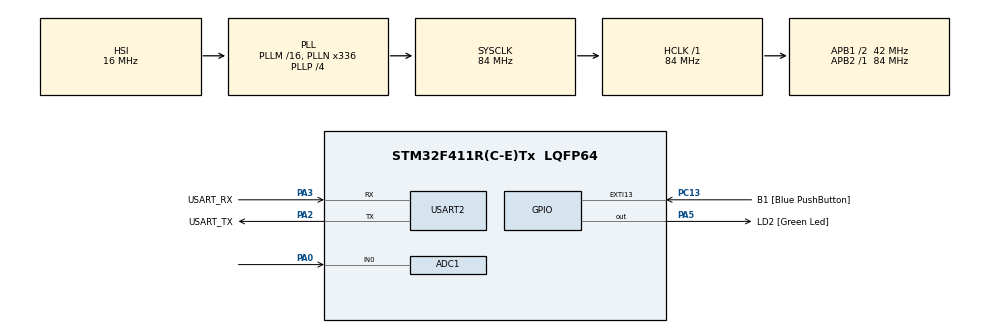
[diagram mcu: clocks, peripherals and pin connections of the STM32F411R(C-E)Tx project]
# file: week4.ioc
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ADC1.Channel-0\#ChannelRegularConversion=ADC_CHANNEL_0
ADC1.Channel-1\#ChannelRegularConversion=ADC_CHANNEL_TEMPSENSOR
ADC1.ContinuousConvMode=ENABLE
ADC1.DMAContinuousRequests=ENABLE
ADC1.EOCSelection=ADC_EOC_SEQ_CONV
ADC1.EnableAnalogWatchDog=false
ADC1.ExternalTrigConv=ADC_SOFTWARE_START
ADC1.NbrOfConversion=2
ADC1.NbrOfConversionFlag=1
ADC1.Rank-0\#ChannelRegularConversion=1
ADC1.Rank-1\#ChannelRegularConversion=2
ADC1.SamplingTime-0\#ChannelRegularConversion=ADC_SAMPLETIME_56CYCLES
ADC1.SamplingTime-1\#ChannelRegularConversion=ADC_SAMPLETIME_56CYCLES
ADC1.ScanConvMode=ENABLE
ADC1.master=1
Dma.ADC1.0.Direction=DMA_PERIPH_TO_MEMORY
Dma.ADC1.0.FIFOMode=DMA_FIFOMODE_DISABLE
Dma.ADC1.0.Instance=DMA2_Stream0
Dma.ADC1.0.MemDataAlignment=DMA_MDATAALIGN_HALFWORD
Dma.ADC1.0.MemInc=DMA_MINC_ENABLE
Dma.ADC1.0.Mode=DMA_CIRCULAR
Dma.ADC1.0.PeriphDataAlignment=DMA_PDATAALIGN_HALFWORD
Dma.ADC1.0.PeriphInc=DMA_PINC_DISABLE
Dma.ADC1.0.Priority=DMA_PRIORITY_LOW
Dma.Request0=ADC1
Mcu.Family=STM32F4
Mcu.Name=STM32F411R(C-E)Tx
Mcu.Package=LQFP64
NVIC.ADC_IRQn=true\:0\:0\:false\:false\:true\:true\:true\:true
NVIC.DMA2_Stream0_IRQn=true\:0\:0\:false\:false\:true\:false\:true\:true
NVIC.EXTI15_10_IRQn=true\:0\:0\:false\:false\:true\:true\:true\:true
NVIC.PriorityGroup=NVIC_PRIORITYGROUP_0
PA0-WKUP.Signal=ADCx_IN0
PA13.GPIO_Label=TMS
PA13.Mode=Serial_Wire
PA13.Signal=SYS_JTMS-SWDIO
PA14.GPIO_Label=TCK
PA14.Mode=Serial_Wire
PA14.Signal=SYS_JTCK-SWCLK
PA2.GPIO_Label=USART_TX
PA2.Mode=Asynchronous
PA2.Signal=USART2_TX
PA3.GPIO_Label=USART_RX
PA3.Mode=Asynchronous
PA3.Signal=USART2_RX
PA5.GPIO_Label=LD2 [Green Led]
PA5.Signal=GPIO_Output
PB3.GPIO_Label=SWO
PB3.Signal=SYS_JTDO-SWO
PC13-ANTI_TAMP.GPIO_Label=B1 [Blue PushButton]
PC13-ANTI_TAMP.GPIO_ModeDefaultEXTI=GPIO_MODE_IT_FALLING
PC13-ANTI_TAMP.Signal=GPXTI13
PC14-OSC32_IN.Mode=LSE-External-Oscillator
PC14-OSC32_IN.Signal=RCC_OSC32_IN
PC15-OSC32_OUT.Mode=LSE-External-Oscillator
PC15-OSC32_OUT.Signal=RCC_OSC32_OUT
PH0\ -\ OSC_IN.Mode=HSE-External-Clock-Source
PH0\ -\ OSC_IN.Signal=RCC_OSC_IN
PH1\ -\ OSC_OUT.Mode=HSE-External-Clock-Source
PH1\ -\ OSC_OUT.Signal=RCC_OSC_OUT
ProjectManager.HeapSize=0x200
ProjectManager.StackSize=0x400
ProjectManager.TargetToolchain=STM32CubeIDE
RCC.48MHZClocksFreq_Value=84000000
RCC.AHBFreq_Value=84000000
RCC.APB1CLKDivider=RCC_HCLK_DIV2
RCC.APB1Freq_Value=42000000
RCC.APB1TimFreq_Value=84000000
RCC.APB2Freq_Value=84000000
RCC.APB2TimFreq_Value=84000000
RCC.CortexFreq_Value=84000000
RCC.FLatency-AdvancedSettings=FLASH_LATENCY_2
RCC.HCLKFreq_Value=84000000
RCC.HSE_VALUE=8000000
RCC.HSI_VALUE=16000000
RCC.PLLN=336
RCC.PLLP=RCC_PLLP_DIV4
RCC.SYSCLKFreq_VALUE=84000000
RCC.SYSCLKSource=RCC_SYSCLKSOURCE_PLLCLK
RCC.VCOOutputFreq_Value=336000000
SH.ADCx_IN0.0=ADC1_IN0,IN0
USART2.VirtualMode=VM_ASYNC
VP_ADC1_TempSens_Input.Mode=IN-TempSens
board=NUCLEO-F411RE

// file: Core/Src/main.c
/* USER CODE BEGIN Header */
/**
  ******************************************************************************
  * @file           : main.c
  * @brief          : Main program body
  ******************************************************************************
  * @attention
  *
  * Copyright (c) 2023 STMicroelectronics.
  * All rights reserved.
  *
  * This software is licensed under terms that can be found in the LICENSE file
  * in the root directory of this software component.
  * If no LICENSE file comes with this software, it is provided AS-IS.
  *
  ******************************************************************************
  */
/* USER CODE END Header */
#include "main.h"

ADC_HandleTypeDef hadc1;
DMA_HandleTypeDef hdma_adc1;

UART_HandleTypeDef huart2;

/* USER CODE BEGIN PV */
uint32_t adcRaw;
//uint32_t adcDMA[10];
float RawV;
float RawT;
float tempK;
float tempC;
float V;

//declare buffer for DMA to Transmit.
//uint16_t adcDMA[20];
typedef struct{
	uint16_t in0;
	uint16_t temp;
}adcDMAst;
adcDMAst adcDMA[10];      //array that contain 2 struct
/* USER CODE END PV */

void SystemClock_Config(void);
static void MX_GPIO_Init(void);
static void MX_DMA_Init(void);
static void MX_USART2_UART_Init(void);
static void MX_ADC1_Init(void);

int main(void)
{

  /* MCU Configuration--------------------------------------------------------*/

  /* Reset of all peripherals, Initializes the Flash interface and the Systick. */
  HAL_Init();

  /* Configure the system clock */
  SystemClock_Config();

  /* Initialize all configured peripherals */
  MX_GPIO_Init();
  MX_DMA_Init();
  MX_USART2_UART_Init();
  MX_ADC1_Init();
  /* USER CODE BEGIN 2 */
  HAL_ADC_Start_DMA(&hadc1, adcDMA, 20);
  /* USER CODE END 2 */

  /* Infinite loop */
  while (1)
  {

    /* USER CODE BEGIN 3 */
	  static uint32_t timestamp = 0;
	  if(HAL_GetTick() > timestamp)
	  	  {
	  		  timestamp = HAL_GetTick() + 1000; // +1Hz
	  		  RawV = (adcDMA[0].in0+adcDMA[1].in0+adcDMA[2].in0+adcDMA[3].in0+adcDMA[4].in0+
	  				adcDMA[5].in0+adcDMA[6].in0+adcDMA[1].in0+adcDMA[2].in0+adcDMA[3].in0+adcDMA[4].in0)/10;
	  		  V = (((RawV/4096)*3.3)*1000)*2;

	  		  RawT = (adcDMA[0].temp+adcDMA[1].temp+adcDMA[2].temp+adcDMA[3].temp+adcDMA[4].temp+
	  				adcDMA[5].temp+adcDMA[6].temp+adcDMA[7].temp+adcDMA[8].temp+adcDMA[9].temp)/10;
	  		  tempC =((((RawT/4096)*3.3)-0.76)/0.0025)+25;
	  		  tempK = tempC+273.15;

	  	  }

  }
  /* USER CODE END 3 */
}

void SystemClock_Config(void)
{
  RCC_OscInitTypeDef RCC_OscInitStruct = {0};
  RCC_ClkInitTypeDef RCC_ClkInitStruct = {0};

  /** Configure the main internal regulator output voltage
  */
  __HAL_RCC_PWR_CLK_ENABLE();
  __HAL_PWR_VOLTAGESCALING_CONFIG(PWR_REGULATOR_VOLTAGE_SCALE1);

  /** Initializes the RCC Oscillators according to the specified parameters
  * in the RCC_OscInitTypeDef structure.
  */
  RCC_OscInitStruct.OscillatorType = RCC_OSCILLATORTYPE_HSI;
  RCC_OscInitStruct.HSIState = RCC_HSI_ON;
  RCC_OscInitStruct.HSICalibrationValue = RCC_HSICALIBRATION_DEFAULT;
  RCC_OscInitStruct.PLL.PLLState = RCC_PLL_ON;
  RCC_OscInitStruct.PLL.PLLSource = RCC_PLLSOURCE_HSI;
  RCC_OscInitStruct.PLL.PLLM = 16;
  RCC_OscInitStruct.PLL.PLLN = 336;
  RCC_OscInitStruct.PLL.PLLP = RCC_PLLP_DIV4;
  RCC_OscInitStruct.PLL.PLLQ = 4;
  if (HAL_RCC_OscConfig(&RCC_OscInitStruct) != HAL_OK)
  {
    Error_Handler();
  }

  /** Initializes the CPU, AHB and APB buses clocks
  */
  RCC_ClkInitStruct.ClockType = RCC_CLOCKTYPE_HCLK|RCC_CLOCKTYPE_SYSCLK
                              |RCC_CLOCKTYPE_PCLK1|RCC_CLOCKTYPE_PCLK2;
  RCC_ClkInitStruct.SYSCLKSource = RCC_SYSCLKSOURCE_PLLCLK;
  RCC_ClkInitStruct.AHBCLKDivider = RCC_SYSCLK_DIV1;
  RCC_ClkInitStruct.APB1CLKDivider = RCC_HCLK_DIV2;
  RCC_ClkInitStruct.APB2CLKDivider = RCC_HCLK_DIV1;

  if (HAL_RCC_ClockConfig(&RCC_ClkInitStruct, FLASH_LATENCY_2) != HAL_OK)
  {
    Error_Handler();
  }
}

static void MX_ADC1_Init(void)
{

  ADC_ChannelConfTypeDef sConfig = {0};

  /** Configure the global features of the ADC (Clock, Resolution, Data Alignment and number of conversion)
  */
  hadc1.Instance = ADC1;
  hadc1.Init.ClockPrescaler = ADC_CLOCK_SYNC_PCLK_DIV4;
  hadc1.Init.Resolution = ADC_RESOLUTION_12B;
  hadc1.Init.ScanConvMode = ENABLE;
  hadc1.Init.ContinuousConvMode = ENABLE;
  hadc1.Init.DiscontinuousConvMode = DISABLE;
  hadc1.Init.ExternalTrigConvEdge = ADC_EXTERNALTRIGCONVEDGE_NONE;
  hadc1.Init.ExternalTrigConv = ADC_SOFTWARE_START;
  hadc1.Init.DataAlign = ADC_DATAALIGN_RIGHT;
  hadc1.Init.NbrOfConversion = 2;
  hadc1.Init.DMAContinuousRequests = ENABLE;
  hadc1.Init.EOCSelection = ADC_EOC_SEQ_CONV;
  if (HAL_ADC_Init(&hadc1) != HAL_OK)
  {
    Error_Handler();
  }

  /** Configure for the selected ADC regular channel its corresponding rank in the sequencer and its sample time.
  */
  sConfig.Channel = ADC_CHANNEL_0;
  sConfig.Rank = 1;
  sConfig.SamplingTime = ADC_SAMPLETIME_56CYCLES;
  if (HAL_ADC_ConfigChannel(&hadc1, &sConfig) != HAL_OK)
  {
    Error_Handler();
  }

  /** Configure for the selected ADC regular channel its corresponding rank in the sequencer and its sample time.
  */
  sConfig.Channel = ADC_CHANNEL_TEMPSENSOR;
  sConfig.Rank = 2;
  if (HAL_ADC_ConfigChannel(&hadc1, &sConfig) != HAL_OK)
  {
    Error_Handler();
  }

}

static void MX_USART2_UART_Init(void)
{

  huart2.Instance = USART2;
  huart2.Init.BaudRate = 115200;
  huart2.Init.WordLength = UART_WORDLENGTH_8B;
  huart2.Init.StopBits = UART_STOPBITS_1;
  huart2.Init.Parity = UART_PARITY_NONE;
  huart2.Init.Mode = UART_MODE_TX_RX;
  huart2.Init.HwFlowCtl = UART_HWCONTROL_NONE;
  huart2.Init.OverSampling = UART_OVERSAMPLING_16;
  if (HAL_UART_Init(&huart2) != HAL_OK)
  {
    Error_Handler();
  }

}

static void MX_DMA_Init(void)
{

  /* DMA controller clock enable */
  __HAL_RCC_DMA2_CLK_ENABLE();

  /* DMA interrupt init */
  /* DMA2_Stream0_IRQn interrupt configuration */
  HAL_NVIC_SetPriority(DMA2_Stream0_IRQn, 0, 0);
  HAL_NVIC_EnableIRQ(DMA2_Stream0_IRQn);

}

static void MX_GPIO_Init(void)
{
  GPIO_InitTypeDef GPIO_InitStruct = {0};

  /* GPIO Ports Clock Enable */
  __HAL_RCC_GPIOC_CLK_ENABLE();
  __HAL_RCC_GPIOH_CLK_ENABLE();
  __HAL_RCC_GPIOA_CLK_ENABLE();
  __HAL_RCC_GPIOB_CLK_ENABLE();

  /*Configure GPIO pin Output Level */
  HAL_GPIO_WritePin(LD2_GPIO_Port, LD2_Pin, GPIO_PIN_RESET);

  /*Configure GPIO pin : B1_Pin */
  GPIO_InitStruct.Pin = B1_Pin;
  GPIO_InitStruct.Mode = GPIO_MODE_IT_FALLING;
  GPIO_InitStruct.Pull = GPIO_NOPULL;
  HAL_GPIO_Init(B1_GPIO_Port, &GPIO_InitStruct);

  /*Configure GPIO pin : LD2_Pin */
  GPIO_InitStruct.Pin = LD2_Pin;
  GPIO_InitStruct.Mode = GPIO_MODE_OUTPUT_PP;
  GPIO_InitStruct.Pull = GPIO_NOPULL;
  GPIO_InitStruct.Speed = GPIO_SPEED_FREQ_LOW;
  HAL_GPIO_Init(LD2_GPIO_Port, &GPIO_InitStruct);

  /* EXTI interrupt init*/
  HAL_NVIC_SetPriority(EXTI15_10_IRQn, 0, 0);
  HAL_NVIC_EnableIRQ(EXTI15_10_IRQn);

}

/* USER CODE BEGIN 4 */
/*void HAL_GPIO_EXTI_Callback(uint16_t GPIO_Pin) //push natural interrupt button to
{
	if(GPIO_Pin == GPIO_PIN_13)
	{
		HAL_ADC_Start_DMA(&hadc1, adcDMA, 20); // make adc start
	}
}*/
void HAL_ADC_ConvCpltCallback(ADC_HandleTypeDef* hadc)
{
	adcRaw = HAL_ADC_GetValue(&hadc1);
}
/* USER CODE END 4 */

void Error_Handler(void)
{
  __disable_irq();
  while (1)
  {
  }
}
